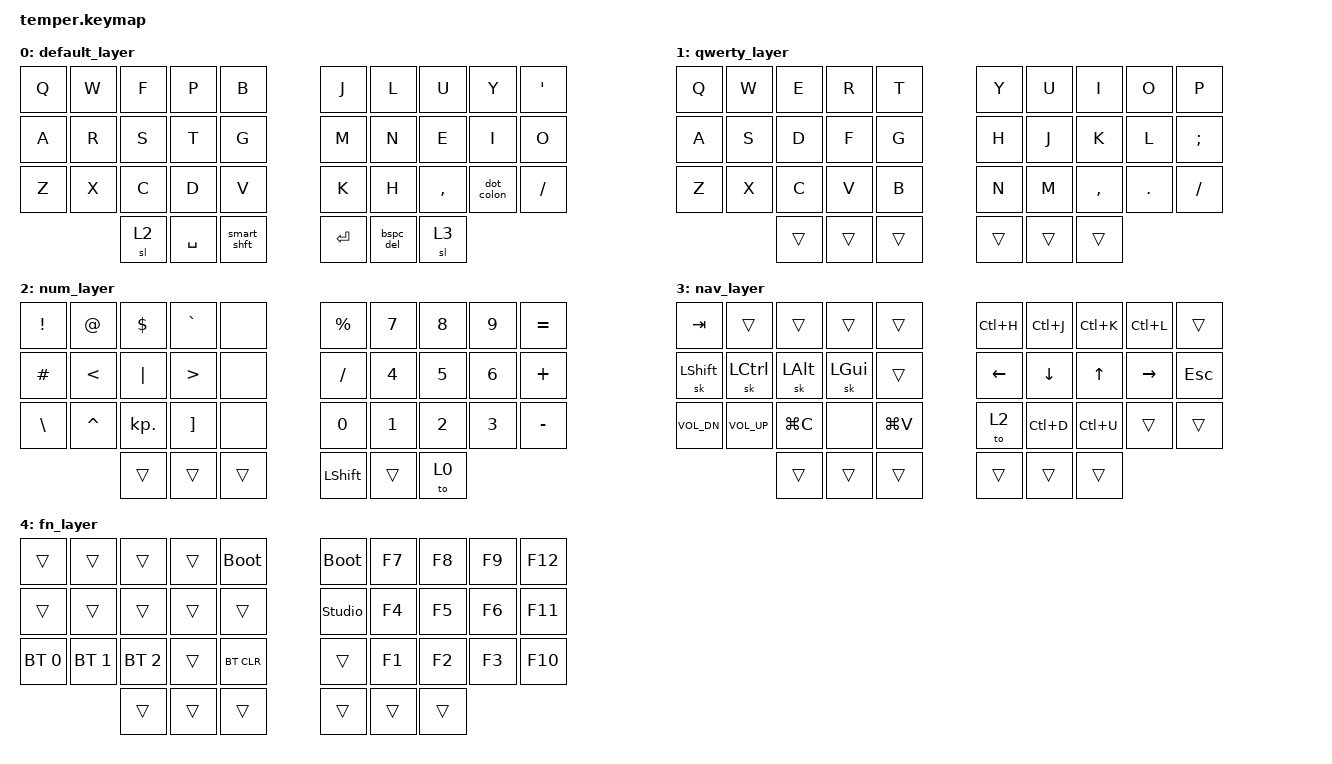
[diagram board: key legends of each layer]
/*
 * Copyright (c) 2020 The ZMK Contributors
 *
 * SPDX-License-Identifier: MIT
 */

#include <behaviors.dtsi>
#include <dt-bindings/zmk/bt.h>
#include <dt-bindings/zmk/keys.h>

#define DEFAULT 0
#define QWERTY 1
#define NUM 2
#define NAV 3
#define FUN 4

&sk { quick-release; };

/ {
    conditional_layers { compatible = "zmk,conditional-layers"; };

    behaviors {
        bspc_del: backspace_delete {
            compatible = "zmk,behavior-mod-morph";
            label = "BACKSPACE_DELETE";
            #binding-cells = <0>;
            bindings = <&kp BACKSPACE>, <&kp DELETE>;

            mods = <(MOD_LSFT|MOD_RSFT)>;
            keep-mods = <(MOD_RSFT)>;
        };

        smart_shft: smart_shift {
            compatible = "zmk,behavior-mod-morph";
            label = "SMART_SHIFT";
            #binding-cells = <0>;
            bindings = <&sk LSHFT>, <&caps_word>;

            mods = <(MOD_LSFT)>;
        };

        comma_semi: comma_semi {
            compatible = "zmk,behavior-mod-morph";
            label = "COMMA_SEMI";
            #binding-cells = <0>;
            bindings = <&kp COMMA>, <&kp SEMI>;

            mods = <(MOD_LSFT)>;
        };

        dot_colon: dot_colon {
            compatible = "zmk,behavior-mod-morph";
            label = "DOT_COLON";
            #binding-cells = <0>;
            bindings = <&kp DOT>, <&kp COLON>;

            mods = <(MOD_LSFT)>;
        };

        qmrk_excl: qmrk_excl {
            compatible = "zmk,behavior-mod-morph";
            label = "QUESTION_EXCLAMATION";
            #binding-cells = <0>;
            bindings = <&kp QMARK>, <&kp EXCL>;

            mods = <(MOD_LSFT)>;
        };

        slh_morph: slh_morph {
            compatible = "zmk,behavior-mod-morph";
            label = "SLASH_MORPH";
            #binding-cells = <0>;
            bindings = <&kp FSLH>, <&kp BSLH>;

            mods = <(MOD_LSFT)>;
        };

        amps_morph: amps_morph {
            compatible = "zmk,behavior-mod-morph";
            label = "AMPERSAND_MORPH";
            #binding-cells = <0>;
            bindings = <&kp AMPS>, <&kp PIPE>;

            mods = <(MOD_LSFT)>;
        };

        mt_balanced: mt_balanced {
            compatible = "zmk,behavior-hold-tap";
            label = "MT_BALANCED";
            bindings = <&kp>, <&kp>;

            #binding-cells = <2>;
            tapping-term-ms = <200>;
            flavor = "balanced";
        };
    };

    combos {
        compatible = "zmk,combos";

        combotab {
            bindings = <&kp TAB>;
            key-positions = <1 2>;
            layers = <0>;
        };

        comboesc {
            bindings = <&kp ESC>;
            key-positions = <7 8>;
            layers = <0>;
        };

        combo_parenthesis {
            bindings = <&kp LEFT_PARENTHESIS>;
            key-positions = <11 13>;
            layers = <0>;
            require-prior-idle-ms = <100>;
        };

        combo_braces {
            bindings = <&kp LEFT_BRACE>;
            key-positions = <1 3>;
            layers = <0>;
            require-prior-idle-ms = <50>;
        };

        combo_bracket {
            bindings = <&kp LEFT_BRACKET>;
            key-positions = <21 23>;
            layers = <0>;
            require-prior-idle-ms = <100>;
        };

        equals_combo {
            bindings = <&kp KP_EQUAL>;
            key-positions = <19 18>;
            layers = <0>;
            require-prior-idle-ms = <100>;
            timeout-ms = <30>;
        };

        combo_del_word {
            bindings = <&kp LA(BACKSPACE)>;
            key-positions = <17 18>;
            require-prior-idle-ms = <100>;
            layers = <0>;
        };

        combo_quote {
            bindings = <&kp DOUBLE_QUOTES>;
            key-positions = <2 3>;
            layers = <0>;
        };

        combo_close_parenthesis {
            bindings = <&kp RIGHT_PARENTHESIS>;
            key-positions = <18 16>;
            layers = <0>;
            require-prior-idle-ms = <150>;
            timeout-ms = <25>;
        };

        combo_close_braces {
            bindings = <&kp RIGHT_BRACE>;
            key-positions = <6 8>;
            layers = <0>;
        };

        comboMinus {
            bindings = <&kp MINUS>;
            key-positions = <29 28>;
            layers = <0>;
        };

        combo_close_bracket {
            bindings = <&kp RIGHT_BRACKET>;
            key-positions = <26 28>;
            require-prior-idle-ms = <150>;
            layers = <0>;
        };

        combo_j {
            bindings = <&kp J>;
            key-positions = <6 7>;
            timeout-ms = <25>;
            layers = <0>;
        };

        combo_k {
            bindings = <&kp K>;
            key-positions = <26 27>;
            timeout-ms = <25>;
            layers = <0>;
        };

        fn_layer_sticky {
            bindings = <&sl 4>;
            key-positions = <35 30>;
        };
    };

    keymap {
        compatible = "zmk,keymap";

        default_layer {
            bindings = <
&kp Q  &kp W  &kp F  &kp P      &kp B          &kp J      &kp L      &kp U      &kp Y       &kp APOS
&kp A  &kp R  &kp S  &kp T      &kp G          &kp M      &kp N      &kp E      &kp I       &kp O
&kp Z  &kp X  &kp C  &kp D      &kp V          &kp K      &kp H      &kp COMMA  &dot_colon  &kp SLASH
              &sl 2  &kp SPACE  &smart_shft    &kp ENTER  &bspc_del  &sl 3
            >;
        };

        qwerty_layer {
            bindings = <
&kp Q  &kp W  &kp E   &kp R   &kp T     &kp Y   &kp U   &kp I      &kp O    &kp P
&kp A  &kp S  &kp D   &kp F   &kp G     &kp H   &kp J   &kp K      &kp L    &kp SEMI
&kp Z  &kp X  &kp C   &kp V   &kp B     &kp N   &kp M   &kp COMMA  &kp DOT  &kp FSLH
              &trans  &trans  &trans    &trans  &trans  &trans
            >;
        };

        num_layer {
            bindings = <
&kp EXCLAMATION  &kp AT         &kp DOLLAR  &kp GRAVE         &none     &kp PERCENT     &kp N7  &kp N8  &kp N9  &kp EQUAL
&kp HASH         &kp LESS_THAN  &kp PIPE    &kp GREATER_THAN  &none     &kp SLASH       &kp N4  &kp N5  &kp N6  &kp PLUS
&kp BACKSLASH    &kp CARET      &kp KP_DOT  &kp RBKT          &none     &kp N0          &kp N1  &kp N2  &kp N3  &kp MINUS
                                &trans      &trans            &trans    &kp LEFT_SHIFT  &trans  &to 0
            >;
        };

        nav_layer {
            bindings = <
&kp TAB         &trans           &trans     &trans    &trans       &kp LC(H)  &kp LC(J)  &kp LC(K)  &kp LC(L)  &trans
&sk LEFT_SHIFT  &sk LCTRL        &sk LALT   &sk LGUI  &trans       &kp LEFT   &kp DOWN   &kp UP     &kp RIGHT  &kp ESC
&kp C_VOL_DN    &kp C_VOLUME_UP  &kp LG(C)  &none     &kp LG(V)    &to 2      &kp LC(D)  &kp LC(U)  &trans     &trans
                                 &trans     &trans    &trans       &trans     &trans     &trans
            >;
        };

        fn_layer {
            bindings = <
&trans        &trans        &trans        &trans  &bootloader    &bootloader     &kp F7  &kp F8  &kp F9  &kp F12
&trans        &trans        &trans        &trans  &trans         &studio_unlock  &kp F4  &kp F5  &kp F6  &kp F11
&bt BT_SEL 0  &bt BT_SEL 1  &bt BT_SEL 2  &trans  &bt BT_CLR     &trans          &kp F1  &kp F2  &kp F3  &kp F10
                            &trans        &trans  &trans         &trans          &trans  &trans
            >;
        };
    };
};
